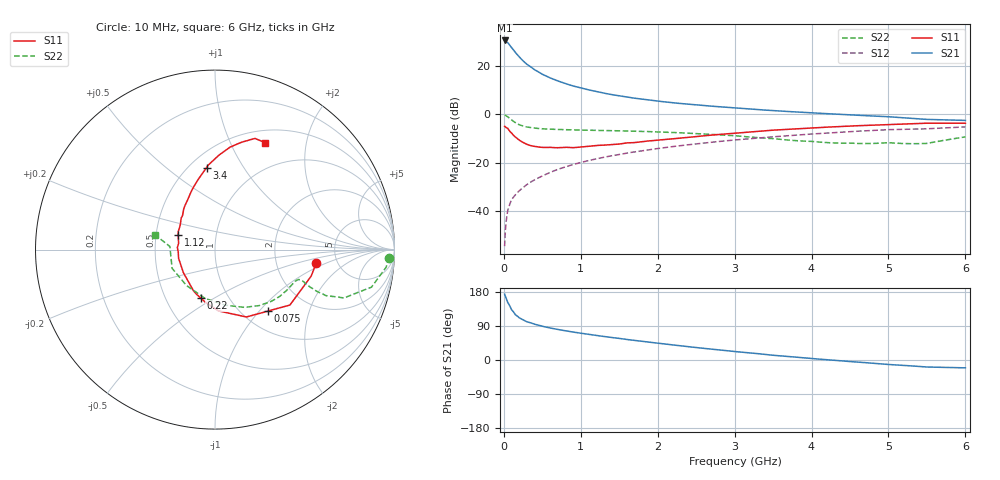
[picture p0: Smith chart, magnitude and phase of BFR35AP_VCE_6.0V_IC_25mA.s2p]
! Infineon Technologies  Discrete & RF Semiconductors
! BFR35AP
! VCE =  6.0 V,  IC =  25 mA
! Common Emitter S-Parameters:  Nov 2015
# GHz  S  MA  R  50
!  f  S11  S21  S12  S22
! GHz  MAG  ANG  MAG  ANG  MAG  ANG  MAG  ANG
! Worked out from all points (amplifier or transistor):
!   210 points, 10 MHz to 6 GHz, reference 50 ohm
!   highest |S21| = 30.5 dB at 10 MHz (marker M1)
!   |S21| within 3 dB of that: start of sweep to 103.1 MHz
!   unconditionally stable (mu >= 1): 379.6 MHz to 2.693 GHz
!   at 185 MHz: K = 0.77, MSG = 28.2 dB, |S12| = -32.0 dB
!   at 1.52 GHz: K = 1.10, MAG = 10.1 dB, |S12| = -16.4 dB
!   at 6 GHz: K = 0.92, MSG = 1.3 dB, |S12| = -5.2 dB
!   S11 on the Smith chart (normalised r, x): 10 MHz: 3.44, -0.78; 75 MHz: 1.30, -1.12; 220 MHz: 0.74, -0.43; 1.12 GHz: 0.65, +0.11; 3.4 GHz: 0.60, +0.70; 6 GHz: 0.65, +1.36
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0.01  0.5685 -7.8  33.67 173.7  0.0019 86.4  0.9708 -2.6
0.02  0.5559 -15.4  33.17 167.9  0.004 81.3  0.9584 -5.9
0.05  0.5193 -36.5  30.57 152.2  0.0102 75.6  0.8965 -13.5
0.075  0.4526 -49.1  26.99 143.6  0.0137 71.3  0.8309 -16.7
0.1  0.4142 -65.0  24.18 132.8  0.0172 68.7  0.7684 -20.5
0.15  0.3423 -86.7  18.98 119.5  0.0218 66.6  0.6715 -22.5
0.2  0.296 -101.2  15.34 111.4  0.0264 66.9  0.6119 -22.3
0.22  0.2809 -106.7  14.27 109.2  0.0282 67.1  0.5967 -22.0
0.26  0.2587 -117.6  12.33 104.5  0.0318 67.9  0.569 -21.5
0.3  0.2408 -124.9  10.84 100.8  0.0356 69.5  0.5492 -20.9
0.4  0.2183 -143.7  8.362 94.4  0.0446 70.4  0.5212 -19.8
0.5  0.2083 -156.3  6.748 88.9  0.0535 71.6  0.5041 -19.5
0.7  0.2051 -176.0  4.922 80.5  0.0731 72.0  0.4886 -20.2
1.02  0.2135 163.0  3.458 70.2  0.1034 70.5  0.4742 -23.4
1.12  0.222 158.0  3.171 67.2  0.113 69.9  0.4703 -24.8
1.6  0.258 136.8  2.275 54.1  0.159 65.9  0.4529 -31.9
2.02  0.2963 124.5  1.868 44.0  0.1993 61.9  0.4338 -39.6
3.1  0.4204 100.7  1.322 20.6  0.3056 50.0  0.3515 -65.5
3.4  0.4592 95.9  1.227 14.7  0.3345 46.3  0.3228 -75.5
4.1  0.5356 86.4  1.057 2.3  0.4025 37.4  0.2683 -106.6
5.1  0.6241 74.9  0.873 -13.0  0.4874 22.9  0.2544 -161.6
6  0.6578 65.1  0.752 -20.7  0.5517 11.9  0.3435 166.1
